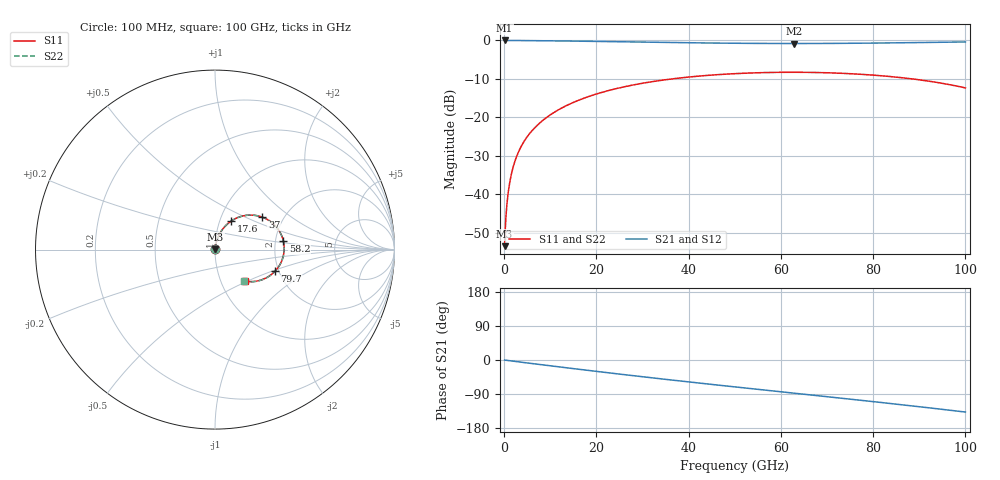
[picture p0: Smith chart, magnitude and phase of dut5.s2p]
! Touchstone file exported from HFSS 2026.1.0
!  File:  C:/ffzhzh/LocalFiles/Ansys_Project_Files/temp_train_RDL_5_1783497589_31944.aedt
!  Generated:  04:01:02 PM Jul  8, 2026
!  Design:  RDL
!  Project:  temp_train_RDL_5_1783497589_31944
! Variables:
!  h_bsmrdl = 2um
!  h_ox = 20um
!  h_rdl = 5um
!  h_sub = 80um
!  h_tmrdl = 4.43um
!  h_tsv = 80um
!  h_via = 3um
!  l_bsmrdl = 300um
!  l_sub = 868.63um
!  l_tmrdl = 468.63um
!  m_sub = 200um
!  pitch = 43.83um
!  r_tsv = 6um
!  s_tmrdl = 10um
!  w_bsmrdl = 18um
!  w_sub = 500um
!  w_tmrdl = 26.78um
!  x_tsv_center1 = 482.02um
!  x_tsv_center2 = 800.02um
!  x_tsv_center3 = 1295.43um
!  x_tsv_center4 = 1613.43um
!  x_tsv_center5 = 2108.84um
!  x_tsv_center6 = 2426.84um
# GHz S MA R 50.000000
! Terminal data exported
! Port[1] = TM_RDL1_1_T1
! Port[2] = TM_RDL1_1_T2
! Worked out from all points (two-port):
!   1000 points, 100 MHz to 100 GHz, reference 50 ohm
!   highest |S21| = -0.01 dB at 100 MHz (marker M1); lowest = -0.8 dB at 62.9 GHz (marker M2)
!   |S21| within 3 dB of the highest: start of sweep to end of sweep
!   lowest |S11| = -53.5 dB at 100 MHz (marker M3), VSWR 1.00, Z = 50.2 + j0.137 ohm
!   |S11| at or under -10 dB: start of sweep to 36.41 GHz; 88.44 GHz to end of sweep
!   |S22| runs from -53.5 to -8.3 dB; largest |S21 - S12| = 1.7e-14
!   S11 on the Smith chart (normalised r, x): 100 MHz: 1.00, +0.00; 17.6 GHz: 1.13, +0.37; 37 GHz: 1.56, +0.63; 58.2 GHz: 2.21, +0.25; 79.7 GHz: 1.91, -0.53; 100 GHz: 1.30, -0.48
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0.1  0.002123 40.0  0.9984 -0.2  0.9984 -0.2  0.002123 40.0
! Gamma 0 0 0 0
! Port Impedance 50 0 50 0
0.9  0.01076 76.9  0.9978 -1.4  0.9978 -1.4  0.01076 76.9
1.2  0.01414 78.8  0.9976 -1.9  0.9976 -1.9  0.01414 78.8
1.5  0.01752 79.8  0.9975 -2.4  0.9975 -2.4  0.01752 79.8
2.5  0.02877 80.4  0.9968 -3.9  0.9968 -3.9  0.02877 80.4
4  0.04531 79.2  0.9953 -6.2  0.9953 -6.2  0.04531 79.2
6.1  0.06776 76.6  0.993 -9.4  0.993 -9.4  0.06776 76.6
8.9  0.09668 72.8  0.9894 -13.7  0.9894 -13.7  0.09668 72.8
12.5  0.1325 67.9  0.9841 -19.0  0.9841 -19.0  0.1326 67.9
16.8  0.173 62.0  0.9768 -25.4  0.9768 -25.4  0.173 62.0
17.6  0.1802 60.9  0.9753 -26.6  0.9753 -26.6  0.1802 60.9
24.8  0.2402 50.9  0.9613 -36.9  0.9613 -36.9  0.2403 50.9
33.4  0.2991 39.3  0.9439 -48.9  0.9439 -48.9  0.2992 39.3
37  0.3193 34.5  0.9371 -53.8  0.9371 -53.8  0.3194 34.5
50.1  0.3701 17.5  0.9179 -71.1  0.9179 -71.1  0.3702 17.5
58.2  0.3838 7.3  0.9121 -81.6  0.9121 -81.6  0.3839 7.3
62.9  0.3856 1.4  0.9112 -87.6  0.9112 -87.6  0.3857 1.3
66.7  0.3838 -3.4  0.9118 -92.5  0.9118 -92.5  0.3839 -3.5
79.7  0.3552 -19.9  0.9222 -109.4  0.9222 -109.4  0.3552 -20.1
83.4  0.3406 -24.7  0.9272 -114.3  0.9272 -114.3  0.3407 -24.9
91.6  0.2983 -35.5  0.9404 -125.5  0.9404 -125.5  0.2984 -35.8
100  0.2415 -46.6  0.955 -137.3  0.955 -137.3  0.2416 -47.2
